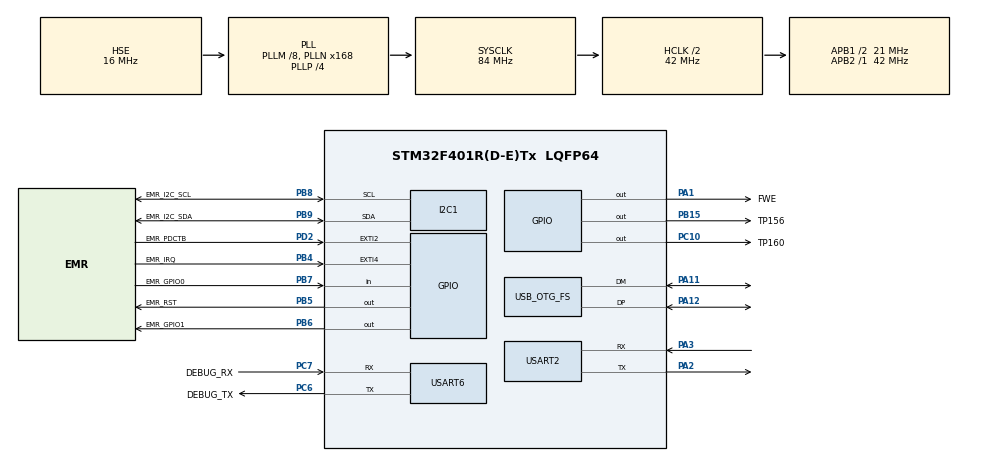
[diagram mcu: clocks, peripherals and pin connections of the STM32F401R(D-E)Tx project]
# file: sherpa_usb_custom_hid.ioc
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I2C1.I2C_Mode=I2C_Fast
Mcu.Family=STM32F4
Mcu.Name=STM32F401R(D-E)Tx
Mcu.Package=LQFP64
NVIC.EXTI2_IRQn=true\:0\:0\:false\:false\:true\:true\:true
NVIC.EXTI4_IRQn=true\:0\:0\:false\:false\:true\:true\:true
NVIC.I2C1_ER_IRQn=true\:0\:0\:false\:false\:true\:true\:true
NVIC.I2C1_EV_IRQn=true\:0\:0\:false\:false\:true\:true\:true
NVIC.OTG_FS_IRQn=true\:0\:0\:false\:false\:true\:false\:true
NVIC.PriorityGroup=NVIC_PRIORITYGROUP_4
NVIC.USART2_IRQn=true\:1\:0\:true\:false\:true\:true\:true
NVIC.USART6_IRQn=true\:3\:0\:true\:false\:true\:true\:true
PA1.GPIO_Label=FWE
PA1.PinState=GPIO_PIN_RESET
PA1.Signal=GPIO_Output
PA11.Mode=Device_Only
PA11.Signal=USB_OTG_FS_DM
PA12.Mode=Device_Only
PA12.Signal=USB_OTG_FS_DP
PA2.Mode=Asynchronous
PA2.Signal=USART2_TX
PA3.Mode=Asynchronous
PA3.Signal=USART2_RX
PB15.GPIO_Label=TP156
PB15.GPIO_PuPd=GPIO_PULLUP
PB15.GPIO_Speed=GPIO_SPEED_FREQ_HIGH
PB15.PinState=GPIO_PIN_SET
PB15.Signal=GPIO_Output
PB4.GPIO_Label=EMR_IRQ
PB4.GPIO_ModeDefaultEXTI=GPIO_MODE_IT_FALLING
PB4.Signal=GPXTI4
PB5.GPIO_Label=EMR_RST
PB5.PinState=GPIO_PIN_SET
PB5.Signal=GPIO_Output
PB6.GPIO_Label=EMR_GPIO1
PB6.PinState=GPIO_PIN_SET
PB6.Signal=GPIO_Output
PB7.GPIO_Label=EMR_GPIO0
PB7.Signal=GPIO_Input
PB8.GPIO_Label=EMR_I2C_SCL
PB8.Mode=I2C
PB8.Signal=I2C1_SCL
PB9.GPIO_Label=EMR_I2C_SDA
PB9.Mode=I2C
PB9.Signal=I2C1_SDA
PC10.GPIO_Label=TP160
PC10.PinState=GPIO_PIN_SET
PC10.Signal=GPIO_Output
PC14-OSC32_IN.Mode=LSE-External-Oscillator
PC14-OSC32_IN.Signal=RCC_OSC32_IN
PC15-OSC32_OUT.Mode=LSE-External-Oscillator
PC15-OSC32_OUT.Signal=RCC_OSC32_OUT
PC6.GPIO_Label=DEBUG_TX
PC6.Mode=Asynchronous
PC6.Signal=USART6_TX
PC7.GPIO_Label=DEBUG_RX
PC7.Mode=Asynchronous
PC7.Signal=USART6_RX
PD2.GPIO_Label=EMR_PDCTB
PD2.GPIO_ModeDefaultEXTI=GPIO_MODE_IT_FALLING
PD2.Signal=GPXTI2
PH0\ -\ OSC_IN.Mode=HSE-External-Oscillator
PH0\ -\ OSC_IN.Signal=RCC_OSC_IN
PH1\ -\ OSC_OUT.Mode=HSE-External-Oscillator
PH1\ -\ OSC_OUT.Signal=RCC_OSC_OUT
ProjectManager.HeapSize=0x200
ProjectManager.StackSize=0x400
ProjectManager.TargetToolchain=MDK-ARM V5.27
RCC.48MHZClocksFreq_Value=48000000
RCC.AHBCLKDivider=RCC_SYSCLK_DIV2
RCC.AHBFreq_Value=42000000
RCC.APB1CLKDivider=RCC_HCLK_DIV2
RCC.APB1Freq_Value=21000000
RCC.APB1TimFreq_Value=42000000
RCC.APB2Freq_Value=42000000
RCC.APB2TimFreq_Value=42000000
RCC.CortexFreq_Value=42000000
RCC.HCLKFreq_Value=42000000
RCC.HSE_VALUE=16000000
RCC.HSI_VALUE=16000000
RCC.PLLM=8
RCC.PLLN=168
RCC.PLLP=RCC_PLLP_DIV4
RCC.PLLQ=7
RCC.SYSCLKFreq_VALUE=84000000
RCC.SYSCLKSource=RCC_SYSCLKSOURCE_PLLCLK
RCC.VCOOutputFreq_Value=336000000
USART2.VirtualMode=VM_ASYNC
USART6.VirtualMode=VM_ASYNC
USB_DEVICE.CLASS_NAME_FS=CUSTOM_HID
USB_DEVICE.VirtualMode-CUSTOM_HID_FS=CustomHid
USB_DEVICE.VirtualModeFS=Custom_Hid_FS
USB_OTG_FS.VirtualMode=Device_Only
VP_USB_DEVICE_VS_USB_DEVICE_CUSTOM_HID_FS.Mode=CUSTOM_HID_FS
board=custom

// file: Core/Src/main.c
/* USER CODE BEGIN Header */
/**
  ******************************************************************************
  * @file           : main.c
  * @brief          : Main program body
  ******************************************************************************
  * @attention
  *
  * <h2><center>&copy; Copyright (c) 2020 STMicroelectronics.
  * All rights reserved.</center></h2>
  *
  * This software component is licensed by ST under Ultimate Liberty license
  * SLA0044, the "License"; You may not use this file except in compliance with
  * the License. You may obtain a copy of the License at:
  *                             www.st.com/SLA0044
  *
  ******************************************************************************
  */
/* USER CODE END Header */
#include "main.h"
#include "i2c.h"
#include "usart.h"
#include "usb_device.h"
#include "gpio.h"

/* USER CODE BEGIN Includes */
#include "usbd_custom_hid_if.h"
/* USER CODE END Includes */

/* USER CODE BEGIN PTD */
uint8_t EMR_I2C_ADDR_8BIT = 0x13 ;
#define EMR_I2C_PACKET_SIZE 17
uint8_t ROTATION_0_CMD[17] = { 0x11,0xff,0xff,0xff,0xff,0xff,0xff,0xff,0xff,0xff,0xff,0xff,0xff,0xff,0xff,0xff,0x00 };
uint8_t ROTATION_90_CMD[17] = { 0x11,0xff,0xff,0xff,0xff,0xff,0xff,0xff,0xff,0xff,0xff,0xff,0xff,0xff,0xff,0xff,0x01 };
/* USER CODE END PTD */

/* USER CODE BEGIN PV */
uint8_t EMR_INT = 0 ;
extern I2C_HandleTypeDef hi2c1;
extern UART_HandleTypeDef huart6;
extern GPIO_InitTypeDef GPIO_InitStruct ;
uint8_t pData[EMR_I2C_PACKET_SIZE];
uint8_t aRxBuffer[5];
uint8_t send_data[9];
uint8_t i ;
/* USER CODE END PV */

void SystemClock_Config(void);
/* USER CODE BEGIN PFP */

void Handle_EMR_Data();

/* USER CODE END PFP */

/* USER CODE BEGIN 0 */

void Delay()
{
	uint16_t d = 0xf;
	while(d--) ;
}
int fputc(int32_t ch, FILE *f)
{
  //  while((USART6->SR&0X40)==0);
   // USART6->DR = (uint8_t) ch;
	HAL_UART_Transmit(&huart6,(uint8_t *)&ch,1,1000);

    return ch;
}

void HAL_UART_RxCpltCallback(UART_HandleTypeDef *huart)
{
    uint8_t data[5];
    if(huart->Instance==USART6)
    {
        data[0] = aRxBuffer[0];
		 memcpy(data,aRxBuffer,5);
		 memset(aRxBuffer,0,5);
        HAL_UART_Transmit(&huart6,(uint8_t*)data,5,1000);
		 USBD_CUSTOM_HID_SendReport_FS(ROTATION_90_CMD,EMR_I2C_PACKET_SIZE) ;

    }
	 if(huart->Instance==USART2)
    {
        data[0] = aRxBuffer[0];
		 memcpy(data,aRxBuffer,5);
		 memset(aRxBuffer,0,5);
        HAL_UART_Transmit(&huart2,(uint8_t*)data,5,1000);

    }
}

void ResetEMR()
{
	HAL_GPIO_WritePin(EMR_RST_GPIO_Port,GPIO_PIN_5,GPIO_PIN_SET);
	HAL_GPIO_WritePin(EMR_RST_GPIO_Port,GPIO_PIN_5,GPIO_PIN_RESET);
	Delay();
	HAL_GPIO_WritePin(EMR_RST_GPIO_Port,GPIO_PIN_5,GPIO_PIN_SET);
//	printf("force to EMR RESET !\n\r");
}

uint8_t EMR_Alive_Check(void)
{
    HAL_StatusTypeDef i2c_res;
    uint8_t	addr_w=0x12;
    //uint8_t	addr_r=0x13;

    i2c_res = HAL_I2C_Master_Transmit( &hi2c1, addr_w, 0x00, 0x01, 10000 );
    if (i2c_res != HAL_OK)
    {

        printf( "EMR Alive Check ERROR. Res = 0x%02X  \r\n",i2c_res );

        ResetEMR();
    }
    else
    {

     //   printf( "EMR Alive Check PASS !!  \r\n");

    }
    return i2c_res;

}

void Handle_EMR_Data ()

{

	if(EMR_INT)
	{
	//	printf("EMR INT\n\r");
		HAL_StatusTypeDef status;

		/*一直讀到中斷Rising Trigger */
		while(1)
		{
		if(EMR_INT == 0) break;
		status =  HAL_I2C_Master_Receive(&hi2c1, EMR_I2C_ADDR_8BIT, pData, EMR_I2C_PACKET_SIZE, 100);

		if(status == HAL_ERROR)
		{
			printf("i2c HAL_ERROR\n\r");
			ResetEMR() ;
			break;

		}
		else if(status == HAL_BUSY)
		{
			printf("i2c HAL_BUSY\n\r");
			ResetEMR() ;
			break;
		}
		else if(status == HAL_TIMEOUT)
		{
			printf("i2c HAL_TIMEOUT\n\r");
			ResetEMR() ;
			break;
		}
		else if (status == HAL_OK){
#if 1
		//	printf("receive EMR Data %d\n\r",EMR_I2C_PACKET_SIZE);
		//	for(i=0;i<EMR_I2C_PACKET_SIZE ; i++ )
		//		printf("0x%x, ",pData[i]);
		//	printf("\n\r");
#endif
		 USBD_CUSTOM_HID_SendReport_FS(pData,EMR_I2C_PACKET_SIZE) ;

		}

	}
		EMR_Alive_Check();
	}

}

/* EMR Interrupt */
void HAL_GPIO_EXTI_Callback(uint16_t GPIO_Pin)
{
	if(GPIO_Pin == EMR_IRQ_Pin)
	{
		if(HAL_GPIO_ReadPin(EMR_IRQ_GPIO_Port,EMR_IRQ_Pin) == RESET)
		{
			EMR_INT = 1;
			//printf("1");
		}
		else
		{
			EMR_INT = 0;
			//printf("0");
		}

	//	Handle_EMR_Data ();
	}
	if(GPIO_Pin == GPIO_PIN_2)
	{
	//	printf("2\n\r");
	}
}
/* USER CODE END 0 */

int main(void)
{

  /* MCU Configuration--------------------------------------------------------*/

  /* Reset of all peripherals, Initializes the Flash interface and the Systick. */
  HAL_Init();

  /* Configure the system clock */
  SystemClock_Config();

  /* Initialize all configured peripherals */
  MX_GPIO_Init();
  MX_USART2_UART_Init();
  MX_USART6_UART_Init();
  MX_USB_DEVICE_Init();
  MX_I2C1_Init();
  /* USER CODE BEGIN 2 */
 HAL_UART_Receive_IT(&huart6,aRxBuffer, sizeof(aRxBuffer)); //使能接收中斷
 HAL_UART_Receive_IT(&huart2,aRxBuffer, sizeof(aRxBuffer)); //使能接收中斷
	printf("stm32 mcu init done V5\n\r");
 EMR_Alive_Check();
  /* USER CODE END 2 */

  /* Infinite loop */
  /* USER CODE BEGIN WHILE */

  HAL_GPIO_WritePin(TP160_GPIO_Port, TP160_Pin, GPIO_PIN_RESET);
  while (1)
  {
    /* USER CODE END WHILE */

    /* USER CODE BEGIN 3 */

#if 1
	  // HAL_Delay(1);
	//  printf("stm32 mcu init done\n\r");
	 // printf("boot test \n\r");
		//HAL_UART_Transmit(&huart6,pData,1,1000);
	//  HAL_GPIO_WritePin(TP160_GPIO_Port, TP160_Pin, GPIO_PIN_SET);
	 // HAL_GPIO_TogglePin(TP160_GPIO_Port, TP160_Pin);
#endif

#if 0
	  // assign Report ID
   send_data[0]=0x02;
   for(i=1;i<9;i++)
   {
      send_data[i]=0x01;
   }

   USBD_CUSTOM_HID_SendReport_FS(send_data,9) ;
#endif
		Handle_EMR_Data () ;

  }
  /* USER CODE END 3 */
}

void SystemClock_Config(void)
{
  RCC_OscInitTypeDef RCC_OscInitStruct = {0};
  RCC_ClkInitTypeDef RCC_ClkInitStruct = {0};

  /** Configure the main internal regulator output voltage
  */
  __HAL_RCC_PWR_CLK_ENABLE();
  __HAL_PWR_VOLTAGESCALING_CONFIG(PWR_REGULATOR_VOLTAGE_SCALE2);
  /** Initializes the RCC Oscillators according to the specified parameters
  * in the RCC_OscInitTypeDef structure.
  */
  RCC_OscInitStruct.OscillatorType = RCC_OSCILLATORTYPE_HSE;
  RCC_OscInitStruct.HSEState = RCC_HSE_ON;
  RCC_OscInitStruct.PLL.PLLState = RCC_PLL_ON;
  RCC_OscInitStruct.PLL.PLLSource = RCC_PLLSOURCE_HSE;
  RCC_OscInitStruct.PLL.PLLM = 8;
  RCC_OscInitStruct.PLL.PLLN = 168;
  RCC_OscInitStruct.PLL.PLLP = RCC_PLLP_DIV4;
  RCC_OscInitStruct.PLL.PLLQ = 7;
  if (HAL_RCC_OscConfig(&RCC_OscInitStruct) != HAL_OK)
  {
    Error_Handler();
  }
  /** Initializes the CPU, AHB and APB buses clocks
  */
  RCC_ClkInitStruct.ClockType = RCC_CLOCKTYPE_HCLK|RCC_CLOCKTYPE_SYSCLK
                              |RCC_CLOCKTYPE_PCLK1|RCC_CLOCKTYPE_PCLK2;
  RCC_ClkInitStruct.SYSCLKSource = RCC_SYSCLKSOURCE_PLLCLK;
  RCC_ClkInitStruct.AHBCLKDivider = RCC_SYSCLK_DIV2;
  RCC_ClkInitStruct.APB1CLKDivider = RCC_HCLK_DIV2;
  RCC_ClkInitStruct.APB2CLKDivider = RCC_HCLK_DIV1;

  if (HAL_RCC_ClockConfig(&RCC_ClkInitStruct, FLASH_LATENCY_1) != HAL_OK)
  {
    Error_Handler();
  }
}

void Error_Handler(void)
{
  /* USER CODE BEGIN Error_Handler_Debug */
  /* User can add his own implementation to report the HAL error return state */
	printf("e");
  __disable_irq();
  while (1)
  {
  }
  /* USER CODE END Error_Handler_Debug */
}

/************************ (C) COPYRIGHT STMicroelectronics *****END OF FILE****/
